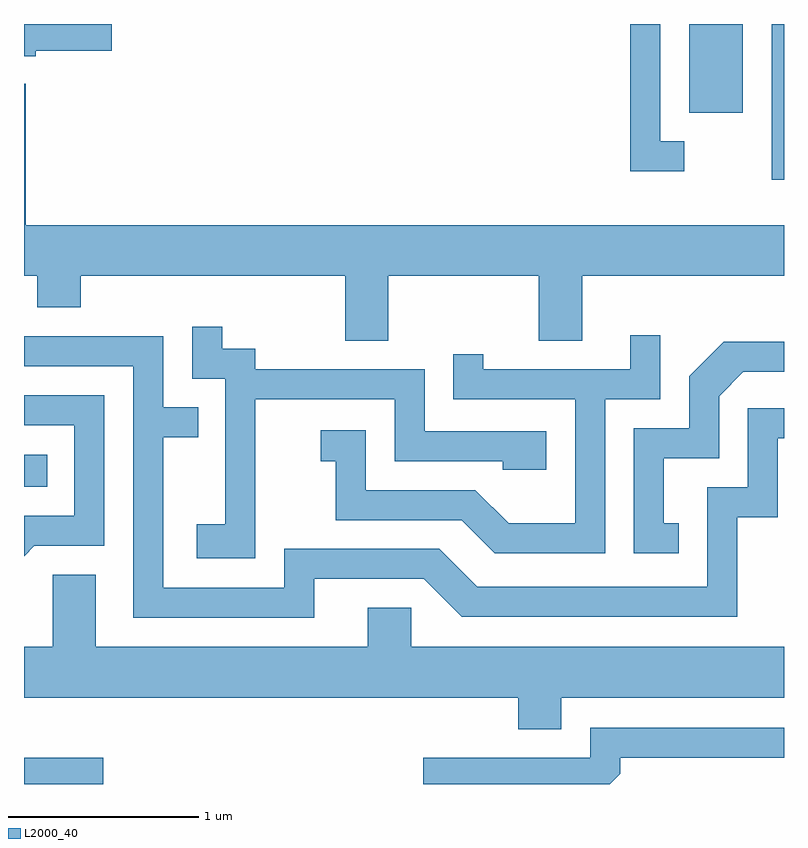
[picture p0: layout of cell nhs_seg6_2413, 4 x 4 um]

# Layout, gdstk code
import gdstk
lib = gdstk.Library(unit=1e-6, precision=1e-09)
def R(c, l, rs):  # rectangles x0, y0, x1, y1
    for r in rs: c.add(gdstk.rectangle(r[:2], r[2:], *l))
def P(c, l, *ps):  # polygons
    for p in ps: c.add(gdstk.Polygon(p, *l))
L2000_40 = (2000, 40)

nhs_seg6_2413 = lib.new_cell('nhs_seg6_2413')
R(nhs_seg6_2413, L2000_40, [(257.611,1636.162,258.028,1636.299), (257.611,1637.726,257.733,1637.894), (261.546,1639.341,261.611,1640.162), (261.111,1639.696,261.394,1640.162)])
P(nhs_seg6_2413, L2000_40, [(261.087,1639.544),(260.959,1639.544),(260.959,1640.162),(260.801,1640.162),(260.801,1639.386),(261.087,1639.386)],
  [(257.674,1640.021),(258.074,1640.021),(258.074,1640.162),(257.611,1640.162),(257.611,1639.991),(257.674,1639.991)],
  [(259.529,1638.836),(260.321,1638.836),(260.321,1638.496),(260.549,1638.496),(260.549,1638.836),(261.611,1638.836),(261.611,1639.104),(257.619,1639.104),(257.619,1639.848),(257.611,1639.848),(257.611,1638.836),(257.681,1638.836),(257.681,1638.671),(257.909,1638.671),(257.909,1638.836),(259.301,1638.836),(259.301,1638.496),(259.529,1638.496)],
  [(258.829,1638.186),(259.561,1638.186),(259.561,1637.861),(260.131,1637.861),(260.131,1637.816),(260.359,1637.816),(260.359,1638.019),(259.719,1638.019),(259.719,1638.344),(258.829,1638.344),(258.829,1638.454),(258.654,1638.454),(258.654,1638.568),(258.496,1638.568),(258.496,1638.296),(258.671,1638.296),(258.671,1637.529),(258.521,1637.529),(258.521,1637.351),(258.829,1637.351)],
  [(260.669,1638.186),(260.959,1638.186),(260.959,1638.523),(260.801,1638.523),(260.801,1638.344),(260.029,1638.344),(260.029,1638.423),(259.871,1638.423),(259.871,1638.186),(260.511,1638.186),(260.511,1637.534),(260.162,1637.534),(259.986,1637.709),(259.409,1637.709),(259.409,1638.024),(259.173,1638.024),(259.173,1637.861),(259.251,1637.861),(259.251,1637.551),(259.914,1637.551),(260.089,1637.376),(260.669,1637.376)],
  [(259.139,1637.241),(259.714,1637.241),(259.914,1637.041),(261.364,1637.041),(261.364,1637.566),(261.579,1637.566),(261.579,1637.981),(261.611,1637.981),(261.611,1638.139),(261.421,1638.139),(261.421,1637.724),(261.206,1637.724),(261.206,1637.199),(259.997,1637.199),(259.796,1637.399),(258.981,1637.399),(258.981,1637.194),(258.344,1637.194),(258.344,1637.986),(258.528,1637.986),(258.528,1638.144),(258.344,1638.144),(258.344,1638.519),(257.611,1638.519),(257.611,1638.361),(258.186,1638.361),(258.186,1637.036),(259.139,1637.036)],
  [(261.058,1637.534),(260.979,1637.534),(260.979,1637.876),(261.269,1637.876),(261.269,1638.204),(261.397,1638.331),(261.611,1638.331),(261.611,1638.489),(261.294,1638.489),(261.111,1638.307),(261.111,1638.034),(260.821,1638.034),(260.821,1637.376),(261.058,1637.376)],
  [(257.666,1637.416),(258.034,1637.416),(258.034,1638.209),(257.611,1638.209),(257.611,1638.051),(257.876,1638.051),(257.876,1637.574),(257.611,1637.574),(257.611,1637.361)],
  [(260.439,1636.616),(261.611,1636.616),(261.611,1636.884),(259.649,1636.884),(259.649,1637.089),(259.421,1637.089),(259.421,1636.884),(257.989,1636.884),(257.989,1637.264),(257.761,1637.264),(257.761,1636.884),(257.611,1636.884),(257.611,1636.616),(260.211,1636.616),(260.211,1636.451),(260.439,1636.451)],
  [(260.749,1636.217),(260.749,1636.301),(261.611,1636.301),(261.611,1636.459),(260.591,1636.459),(260.591,1636.299),(259.712,1636.299),(259.712,1636.162),(260.695,1636.162)])

lib.write_gds('nhs_seg6_2413.gds')
